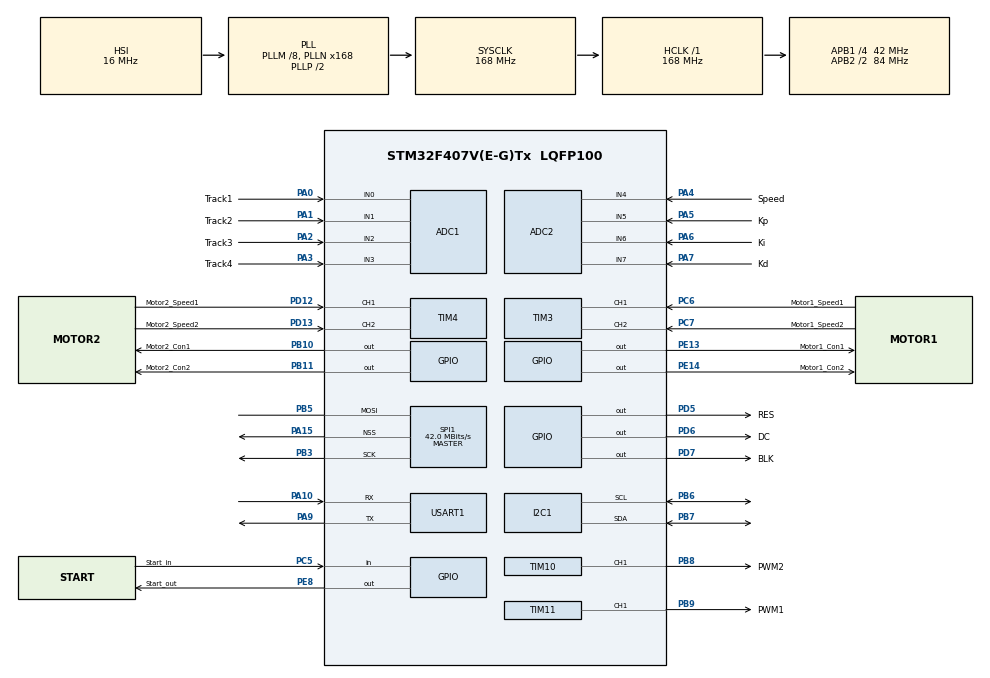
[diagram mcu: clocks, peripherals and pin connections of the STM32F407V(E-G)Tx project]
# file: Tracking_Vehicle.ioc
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ADC1.Channel-0\#ChannelRegularConversion=ADC_CHANNEL_0
ADC1.Channel-1\#ChannelRegularConversion=ADC_CHANNEL_1
ADC1.Channel-2\#ChannelRegularConversion=ADC_CHANNEL_2
ADC1.Channel-3\#ChannelRegularConversion=ADC_CHANNEL_3
ADC1.ContinuousConvMode=ENABLE
ADC1.DMAContinuousRequests=ENABLE
ADC1.NbrOfConversion=4
ADC1.NbrOfConversionFlag=1
ADC1.Rank-0\#ChannelRegularConversion=1
ADC1.Rank-1\#ChannelRegularConversion=2
ADC1.Rank-2\#ChannelRegularConversion=3
ADC1.Rank-3\#ChannelRegularConversion=4
ADC1.SamplingTime-0\#ChannelRegularConversion=ADC_SAMPLETIME_56CYCLES
ADC1.SamplingTime-1\#ChannelRegularConversion=ADC_SAMPLETIME_56CYCLES
ADC1.SamplingTime-2\#ChannelRegularConversion=ADC_SAMPLETIME_56CYCLES
ADC1.SamplingTime-3\#ChannelRegularConversion=ADC_SAMPLETIME_56CYCLES
ADC1.ScanConvMode=ENABLE
ADC1.master=1
ADC2.Channel-0\#ChannelRegularConversion=ADC_CHANNEL_4
ADC2.Channel-1\#ChannelRegularConversion=ADC_CHANNEL_5
ADC2.Channel-2\#ChannelRegularConversion=ADC_CHANNEL_6
ADC2.Channel-3\#ChannelRegularConversion=ADC_CHANNEL_7
ADC2.ContinuousConvMode=ENABLE
ADC2.DMAContinuousRequests=ENABLE
ADC2.NbrOfConversion=4
ADC2.NbrOfConversionFlag=1
ADC2.Rank-0\#ChannelRegularConversion=1
ADC2.Rank-1\#ChannelRegularConversion=2
ADC2.Rank-2\#ChannelRegularConversion=3
ADC2.Rank-3\#ChannelRegularConversion=4
ADC2.SamplingTime-0\#ChannelRegularConversion=ADC_SAMPLETIME_56CYCLES
ADC2.SamplingTime-1\#ChannelRegularConversion=ADC_SAMPLETIME_56CYCLES
ADC2.SamplingTime-2\#ChannelRegularConversion=ADC_SAMPLETIME_56CYCLES
ADC2.SamplingTime-3\#ChannelRegularConversion=ADC_SAMPLETIME_56CYCLES
ADC2.ScanConvMode=ENABLE
Dma.ADC1.0.Direction=DMA_PERIPH_TO_MEMORY
Dma.ADC1.0.FIFOMode=DMA_FIFOMODE_DISABLE
Dma.ADC1.0.Instance=DMA2_Stream0
Dma.ADC1.0.MemDataAlignment=DMA_MDATAALIGN_HALFWORD
Dma.ADC1.0.MemInc=DMA_MINC_ENABLE
Dma.ADC1.0.Mode=DMA_CIRCULAR
Dma.ADC1.0.PeriphDataAlignment=DMA_PDATAALIGN_HALFWORD
Dma.ADC1.0.PeriphInc=DMA_PINC_DISABLE
Dma.ADC1.0.Priority=DMA_PRIORITY_LOW
Dma.ADC2.1.Direction=DMA_PERIPH_TO_MEMORY
Dma.ADC2.1.FIFOMode=DMA_FIFOMODE_DISABLE
Dma.ADC2.1.Instance=DMA2_Stream2
Dma.ADC2.1.MemDataAlignment=DMA_MDATAALIGN_HALFWORD
Dma.ADC2.1.MemInc=DMA_MINC_ENABLE
Dma.ADC2.1.Mode=DMA_CIRCULAR
Dma.ADC2.1.PeriphDataAlignment=DMA_PDATAALIGN_HALFWORD
Dma.ADC2.1.PeriphInc=DMA_PINC_DISABLE
Dma.ADC2.1.Priority=DMA_PRIORITY_LOW
Dma.Request0=ADC1
Dma.Request1=ADC2
Mcu.Family=STM32F4
Mcu.Name=STM32F407V(E-G)Tx
Mcu.Package=LQFP100
NVIC.ADC_IRQn=true\:0\:0\:false\:false\:true\:true\:true\:true
NVIC.DMA2_Stream0_IRQn=true\:0\:0\:false\:false\:true\:false\:true\:true
NVIC.DMA2_Stream2_IRQn=true\:0\:0\:false\:false\:true\:false\:true\:true
NVIC.PriorityGroup=NVIC_PRIORITYGROUP_4
NVIC.TIM1_BRK_TIM9_IRQn=true\:0\:0\:false\:false\:true\:true\:true\:true
NVIC.TIM3_IRQn=true\:0\:0\:false\:false\:true\:true\:true\:true
NVIC.TIM4_IRQn=true\:0\:0\:false\:false\:true\:true\:true\:true
NVIC.TIM6_DAC_IRQn=true\:0\:0\:false\:false\:true\:true\:true\:true
NVIC.TIM7_IRQn=true\:0\:0\:false\:false\:true\:true\:true\:true
PA0-WKUP.GPIO_Label=Track1
PA0-WKUP.Signal=ADCx_IN0
PA1.GPIO_Label=Track2
PA1.Signal=ADCx_IN1
PA10.Mode=Asynchronous
PA10.Signal=USART1_RX
PA13.Mode=Serial_Wire
PA13.Signal=SYS_JTMS-SWDIO
PA14.Mode=Serial_Wire
PA14.Signal=SYS_JTCK-SWCLK
PA15.Mode=NSS_Signal_Hard_Output
PA15.Signal=SPI1_NSS
PA2.GPIO_Label=Track3
PA2.Signal=ADCx_IN2
PA3.GPIO_Label=Track4
PA3.Signal=ADCx_IN3
PA4.GPIO_Label=Speed
PA4.Signal=ADCx_IN4
PA5.GPIO_Label=Kp
PA5.Signal=ADCx_IN5
PA6.GPIO_Label=Ki
PA6.Signal=ADCx_IN6
PA7.GPIO_Label=Kd
PA7.Signal=ADCx_IN7
PA9.Mode=Asynchronous
PA9.Signal=USART1_TX
PB10.GPIO_Label=Motor2_Con1
PB10.Signal=GPIO_Output
PB11.GPIO_Label=Motor2_Con2
PB11.Signal=GPIO_Output
PB3.Mode=Simplex_Bidirectional_Master
PB3.Signal=SPI1_SCK
PB5.Mode=Simplex_Bidirectional_Master
PB5.Signal=SPI1_MOSI
PB6.Mode=I2C
PB6.Signal=I2C1_SCL
PB7.Mode=I2C
PB7.Signal=I2C1_SDA
PB8.GPIO_Label=PWM2
PB8.Signal=S_TIM10_CH1
PB9.GPIO_Label=PWM1
PB9.Signal=S_TIM11_CH1
PC5.GPIO_Label=Start_in
PC5.Signal=GPIO_Input
PC6.GPIO_Label=Motor1_Speed1
PC6.Signal=S_TIM3_CH1
PC7.GPIO_Label=Motor1_Speed2
PC7.Signal=S_TIM3_CH2
PD12.GPIO_Label=Motor2_Speed1
PD12.Signal=S_TIM4_CH1
PD13.GPIO_Label=Motor2_Speed2
PD13.Signal=S_TIM4_CH2
PD5.GPIO_Label=RES
PD5.Signal=GPIO_Output
PD6.GPIO_Label=DC
PD6.Signal=GPIO_Output
PD7.GPIO_Label=BLK
PD7.Signal=GPIO_Output
PE13.GPIO_Label=Motor1_Con1
PE13.Signal=GPIO_Output
PE14.GPIO_Label=Motor1_Con2
PE14.Signal=GPIO_Output
PE8.GPIO_Label=Start_out
PE8.Signal=GPIO_Output
PH0-OSC_IN.Mode=HSE-External-Oscillator
PH0-OSC_IN.Signal=RCC_OSC_IN
PH1-OSC_OUT.Mode=HSE-External-Oscillator
PH1-OSC_OUT.Signal=RCC_OSC_OUT
ProjectManager.HeapSize=0x200
ProjectManager.StackSize=0x400
ProjectManager.TargetToolchain=CMake
RCC.48MHZClocksFreq_Value=84000000
RCC.AHBFreq_Value=168000000
RCC.APB1CLKDivider=RCC_HCLK_DIV4
RCC.APB1Freq_Value=42000000
RCC.APB1TimFreq_Value=84000000
RCC.APB2CLKDivider=RCC_HCLK_DIV2
RCC.APB2Freq_Value=84000000
RCC.APB2TimFreq_Value=168000000
RCC.CortexFreq_Value=168000000
RCC.HCLKFreq_Value=168000000
RCC.HSE_VALUE=25000000
RCC.HSI_VALUE=16000000
RCC.LSE_VALUE=32768
RCC.PLLM=8
RCC.PLLN=168
RCC.SYSCLKFreq_VALUE=168000000
RCC.SYSCLKSource=RCC_SYSCLKSOURCE_PLLCLK
RCC.VCOOutputFreq_Value=336000000
SH.ADCx_IN0.0=ADC1_IN0,IN0
SH.ADCx_IN1.0=ADC1_IN1,IN1
SH.ADCx_IN2.0=ADC1_IN2,IN2
SH.ADCx_IN3.0=ADC1_IN3,IN3
SH.ADCx_IN4.0=ADC2_IN4,IN4
SH.ADCx_IN5.0=ADC2_IN5,IN5
SH.ADCx_IN6.0=ADC2_IN6,IN6
SH.ADCx_IN7.0=ADC2_IN7,IN7
SH.S_TIM10_CH1.0=TIM10_CH1,PWM Generation1 CH1
SH.S_TIM11_CH1.0=TIM11_CH1,PWM Generation1 CH1
SH.S_TIM3_CH1.0=TIM3_CH1,Encoder_Interface
SH.S_TIM3_CH2.0=TIM3_CH2,Encoder_Interface
SH.S_TIM4_CH1.0=TIM4_CH1,Encoder_Interface
SH.S_TIM4_CH2.0=TIM4_CH2,Encoder_Interface
SPI1.CalculateBaudRate=42.0 MBits/s
SPI1.Direction=SPI_DIRECTION_1LINE
SPI1.Mode=SPI_MODE_MASTER
SPI1.VirtualNSS=VM_NSSHARD
SPI1.VirtualType=VM_MASTER
TIM10.Channel=TIM_CHANNEL_1
TIM10.Period=4200-1
TIM11.Channel=TIM_CHANNEL_1
TIM11.Period=4200-1
TIM6.Period=1000-1
TIM6.Prescaler=840-1
TIM7.Period=200-1
TIM7.Prescaler=4200-1
TIM9.Period=100-1
TIM9.Prescaler=1680-1
USART1.VirtualMode=VM_ASYNC
VP_TIM10_VS_ClockSourceINT.Mode=Enable_Timer
VP_TIM11_VS_ClockSourceINT.Mode=Enable_Timer
VP_TIM6_VS_ClockSourceINT.Mode=Enable_Timer
VP_TIM7_VS_ClockSourceINT.Mode=Enable_Timer
VP_TIM9_VS_ClockSourceINT.Mode=Internal
board=custom

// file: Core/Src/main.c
/* USER CODE BEGIN Header */
/**
  ******************************************************************************
  * @file           : main.c
  * @brief          : Main program body
  ******************************************************************************
  * @attention
  *
  * Copyright (c) 2026 STMicroelectronics.
  * All rights reserved.
  *
  * This software is licensed under terms that can be found in the LICENSE file
  * in the root directory of this software component.
  * If no LICENSE file comes with this software, it is provided AS-IS.
  *
  ******************************************************************************
  */
/* USER CODE END Header */
#include "main.h"
#include "adc.h"
#include "dma.h"
#include "i2c.h"
#include "spi.h"
#include "tim.h"
#include "usart.h"
#include "gpio.h"

/* USER CODE BEGIN Includes */
#include "oled.h"
#include "st7735.h"
#include <stdio.h>
#include <stdlib.h>
#include <string.h>
#include "img.h"
#include "Control.h"
#include "key.h"
/* USER CODE END Includes */

/* USER CODE BEGIN PV */
uint16_t Tracks[4] = {0, 0, 0, 0};
uint8_t Track_Binary[4] = {0, 0, 0, 0};
uint16_t values[4] = {0, 0, 0, 0};

#define ADC_FULL_SCALE      4095.0f
#define MOTOR_PWM_MAX       4199
#define TRACK_THRESHOLD     2000U
static uint16_t values_filtered[4] = {0, 0, 0, 0};
static uint8_t pot_filter_ready = 0;

int16_t Speed1_now = 0;
int16_t Speed1_last = 0;
int16_t Speed2_now = 0;
int16_t Speed2_last = 0;
int16_t Speed_Target = 0;

uint8_t KeyNum = 0;
volatile uint8_t Start_Flag = 0;

float Track_position = 0.0f;
float Track_position_last = 0.0f;
float Track_derivative = 0.0f;
float Track_integral = 0.0f;

float Kp = 0.0f;
float Ki = 0.0f;
float Kd = 0.0f;

float Out = 0.0f;
float Last_Out = 0.0f;

char start[20] = "";
char output[20] = "";
char speed[20] = "";
char kp[20] = "";
char ki[20] = "";
char kd[20] = "";
/* USER CODE END PV */

void SystemClock_Config(void);

/* USER CODE BEGIN 0 */
int16_t Encoder_Get(TIM_HandleTypeDef *htim);
static uint16_t ADC_Filter(uint16_t raw, uint16_t *state);
static float Map_ADC_To_Float(uint16_t raw, float min, float max);
static int16_t Clamp_PWM(int32_t value);
static void Track_Binary_Process(void);
/* USER CODE END 0 */

int main(void)
{

  /* MCU Configuration--------------------------------------------------------*/

  /* Reset of all peripherals, Initializes the Flash interface and the Systick. */
  HAL_Init();

  /* Configure the system clock */
  SystemClock_Config();

  /* Initialize all configured peripherals */
  MX_GPIO_Init();
  MX_DMA_Init();
  MX_ADC1_Init();
  MX_ADC2_Init();
  MX_I2C1_Init();
  MX_SPI1_Init();
  MX_TIM3_Init();
  MX_TIM4_Init();
  MX_TIM6_Init();
  MX_TIM7_Init();
  MX_TIM10_Init();
  MX_TIM11_Init();
  MX_USART1_UART_Init();
  MX_TIM9_Init();
  /* USER CODE BEGIN 2 */
  HAL_Delay(20);
  OLED_Init();
  ST7735_Init();

  HAL_ADC_Start_DMA(&hadc1, (uint32_t*)Tracks, 4);
  HAL_ADC_Start_DMA(&hadc2, (uint32_t*)values, 4);

  HAL_TIM_Encoder_Start(&htim3, TIM_CHANNEL_ALL);
  HAL_TIM_Encoder_Start(&htim4, TIM_CHANNEL_ALL);

  HAL_TIM_Base_Start_IT(&htim6);
  HAL_TIM_Base_Start_IT(&htim7);
  HAL_TIM_Base_Start_IT(&htim9);

  HAL_TIM_PWM_Start_IT(&htim10, TIM_CHANNEL_1);
  HAL_TIM_PWM_Start_IT(&htim11, TIM_CHANNEL_1);

  Start_Motor();

  ST7735_DrawImage(0, 0, 128, 128, (uint16_t*)test_img_128x128);
  /* USER CODE END 2 */

  /* Infinite loop */
  /* USER CODE BEGIN WHILE */
  while (1)
  {
    static uint8_t last_start_flag = 0;

    KeyNum = Key_GetNum();

    if(KeyNum == 1)
    {
      Start_Flag = !Start_Flag;
    }

    if (Start_Flag && !last_start_flag)
    {
      Track_integral = 0.0f;
      Track_position = 0.0f;
      Track_position_last = 0.0f;
      Track_derivative = 0.0f;
    }

    last_start_flag = Start_Flag;

    sprintf(start, "Start: %s", Start_Flag ? "ON" : "OFF");

    if(Start_Flag)
    {
      HAL_GPIO_WritePin(Start_out_GPIO_Port, Start_out_Pin, GPIO_PIN_SET);
    }
    else
    {
      HAL_GPIO_WritePin(Start_out_GPIO_Port, Start_out_Pin, GPIO_PIN_RESET);
    }

    OLED_NewFrame();

    OLED_PrintASCIIString(0, 0, start, &afont8x6, OLED_COLOR_NORMAL);
    OLED_PrintASCIIString(0, 16, speed, &afont8x6, OLED_COLOR_NORMAL);
    OLED_PrintASCIIString(0, 24, output, &afont8x6, OLED_COLOR_NORMAL);
    OLED_PrintASCIIString(0, 32, kp, &afont8x6, OLED_COLOR_NORMAL);
    OLED_PrintASCIIString(0, 40, ki, &afont8x6, OLED_COLOR_NORMAL);
    OLED_PrintASCIIString(0, 48, kd, &afont8x6, OLED_COLOR_NORMAL);

    OLED_ShowFrame();

    // char uart_buf[128];
    // HAL_Delay(1000);
    // sprintf(uart_buf, "ADC:%u,%u,%u,%u\r\nSpeed:%d Kp:%.2f Ki:%.2f Kd:%.2f\r\n",
    //      values[0], values[1], values[2], values[3],
    //      Speed_Target, Kp, Ki, Kd);
    // HAL_UART_Transmit(&huart1, (uint8_t *)uart_buf, strlen(uart_buf), HAL_MAX_DELAY);
    /* USER CODE END WHILE */

  }
}

void SystemClock_Config(void)
{
  RCC_OscInitTypeDef RCC_OscInitStruct = {0};
  RCC_ClkInitTypeDef RCC_ClkInitStruct = {0};

  /** Configure the main internal regulator output voltage
  */
  __HAL_RCC_PWR_CLK_ENABLE();
  __HAL_PWR_VOLTAGESCALING_CONFIG(PWR_REGULATOR_VOLTAGE_SCALE1);

  /** Initializes the RCC Oscillators according to the specified parameters
  * in the RCC_OscInitTypeDef structure.
  */
  RCC_OscInitStruct.OscillatorType = RCC_OSCILLATORTYPE_HSI;
  RCC_OscInitStruct.HSIState = RCC_HSI_ON;
  RCC_OscInitStruct.HSICalibrationValue = RCC_HSICALIBRATION_DEFAULT;
  RCC_OscInitStruct.PLL.PLLState = RCC_PLL_ON;
  RCC_OscInitStruct.PLL.PLLSource = RCC_PLLSOURCE_HSI;
  RCC_OscInitStruct.PLL.PLLM = 8;
  RCC_OscInitStruct.PLL.PLLN = 168;
  RCC_OscInitStruct.PLL.PLLP = RCC_PLLP_DIV2;
  RCC_OscInitStruct.PLL.PLLQ = 4;
  if (HAL_RCC_OscConfig(&RCC_OscInitStruct) != HAL_OK)
  {
    Error_Handler();
  }

  /** Initializes the CPU, AHB and APB buses clocks
  */
  RCC_ClkInitStruct.ClockType = RCC_CLOCKTYPE_HCLK|RCC_CLOCKTYPE_SYSCLK
                              |RCC_CLOCKTYPE_PCLK1|RCC_CLOCKTYPE_PCLK2;
  RCC_ClkInitStruct.SYSCLKSource = RCC_SYSCLKSOURCE_PLLCLK;
  RCC_ClkInitStruct.AHBCLKDivider = RCC_SYSCLK_DIV1;
  RCC_ClkInitStruct.APB1CLKDivider = RCC_HCLK_DIV4;
  RCC_ClkInitStruct.APB2CLKDivider = RCC_HCLK_DIV2;

  if (HAL_RCC_ClockConfig(&RCC_ClkInitStruct, FLASH_LATENCY_5) != HAL_OK)
  {
    Error_Handler();
  }
}

/* USER CODE BEGIN 4 */
int16_t Encoder_Get(TIM_HandleTypeDef *htim)
{
	int16_t temp = 0;
	temp = __HAL_TIM_GET_COUNTER(htim);
	__HAL_TIM_SET_COUNTER(htim,0);
	return temp;
}

static uint16_t ADC_Filter(uint16_t raw, uint16_t *state)
{
  if (!pot_filter_ready)
  {
    *state = raw;
    return raw;
  }

  *state = (uint16_t)((((uint32_t)(*state) * 7U) + raw) / 8U);
  return *state;
}

static float Map_ADC_To_Float(uint16_t raw, float min, float max)
{
  float ratio = (float)raw / ADC_FULL_SCALE;
  return min + (max - min) * ratio;
}

static int16_t Clamp_PWM(int32_t value)
{
  if (value < 0)
  {
    return 0;
  }

  if (value > MOTOR_PWM_MAX)
  {
    return MOTOR_PWM_MAX;
  }

  return (int16_t)value;
}

static void Track_Binary_Process(void)
{
  for (uint8_t i = 0; i < 4U; ++i)
  {
    Track_Binary[i] = (Tracks[i] > TRACK_THRESHOLD) ? 1U : 0U;
  }
}

void HAL_TIM_PeriodElapsedCallback(TIM_HandleTypeDef *htim)
{
  if (htim->Instance == TIM6)
  {
    uint16_t speed_adc = ADC_Filter(values[0], &values_filtered[0]);
    Speed_Target = Clamp_PWM((int32_t)Map_ADC_To_Float(speed_adc, 0.0f, (float)MOTOR_PWM_MAX));

    Speed1_now = Encoder_Get(&htim3);
    Speed2_now = Encoder_Get(&htim4);
  }
  else if (htim->Instance == TIM7)
  {
    /* Always update filter init and ADC readings for real-time display */
    if (!pot_filter_ready)
    {
      pot_filter_ready = 1;
    }

    uint16_t kp_adc = ADC_Filter(values[1], &values_filtered[1]);
    uint16_t ki_adc = ADC_Filter(values[2], &values_filtered[2]);
    uint16_t kd_adc = ADC_Filter(values[3], &values_filtered[3]);

    Kp = Map_ADC_To_Float(kp_adc, 0.0f, 800.0f);
    Ki = Map_ADC_To_Float(ki_adc, 0.0f, 100.0f);
    Kd = Map_ADC_To_Float(kd_adc, 0.0f, 400.0f);

    /* Always update display strings (fixed-point, avoids picolibc float %%f) */
    {
      int32_t kp_c = (int32_t)(Kp * 100.0f + 0.5f);
      int32_t ki_c = (int32_t)(Ki * 100.0f + 0.5f);
      int32_t kd_c = (int32_t)(Kd * 100.0f + 0.5f);
      int32_t out_c = (int32_t)(Out * 100.0f + (Out >= 0.0f ? 0.5f : -0.5f));
      sprintf(kp, "Kp: %d.%02d", kp_c / 100, abs(kp_c % 100));
      sprintf(ki, "Ki: %d.%02d", ki_c / 100, abs(ki_c % 100));
      sprintf(kd, "Kd: %d.%02d", kd_c / 100, abs(kd_c % 100));
      sprintf(output, "Out: %d.%02d", out_c / 100, abs(out_c % 100));
    }
    sprintf(speed, "Speed: %d", Speed_Target);

    /* Motor control only when started */
    if (!Start_Flag)
    {
      Stop_Motor();
      return;
    }

    Track_Binary_Process();

    uint32_t track_sum = (uint32_t)Track_Binary[0] + Track_Binary[1] + Track_Binary[2] + Track_Binary[3];
    if ((Track_Binary[0] == 1U) && (Track_Binary[1] == 1U) && (Track_Binary[2] == 1U) && (Track_Binary[3] == 1U))
    {
      Out = 0.0f;
      Track_position = 0.0f;
      Track_position_last = 0.0f;
      Track_derivative = 0.0f;
      Track_integral = 0.0f;
      Last_Out = 0.0f;
    }
    else if ((Track_Binary[0] == 0U) && (Track_Binary[1] == 0U) && (Track_Binary[2] == 0U) && (Track_Binary[3] == 0U))
    {
      Out = Last_Out;
    }
    else
    {
      /* Compute weighted sensor position (-3 to +3, 0 = centered) */
      if (track_sum == 0U)
      {
        Track_position = Track_position_last;
      }
      else
      {
        Track_position = (float)((-3 * Track_Binary[0]) + (-1 * Track_Binary[1])
                               + ( 1 * Track_Binary[2]) + ( 3 * Track_Binary[3]));
        Track_position /= (float)track_sum;
      }

      /* PID: P=position, I=∫position, D=d(position)/dt */
      Track_derivative = Track_position - Track_position_last;
      Track_position_last = Track_position;

      Track_integral += Track_position;
      if (Track_integral > 100.0f)  Track_integral = 100.0f;
      if (Track_integral < -100.0f) Track_integral = -100.0f;

      Out = (Kp * Track_position) + (Ki * Track_integral) + (Kd * Track_derivative);
      Last_Out = Out;
    }

    Set_Speed(
      Clamp_PWM((int32_t)((float)Speed_Target - Out)),
      Clamp_PWM((int32_t)((float)Speed_Target + Out))
    );
  }
  else if (htim->Instance == TIM9)
  {
    Key_Tick();
  }
}
/* USER CODE END 4 */

void Error_Handler(void)
{
  __disable_irq();
  while (1)
  {
  }
}
